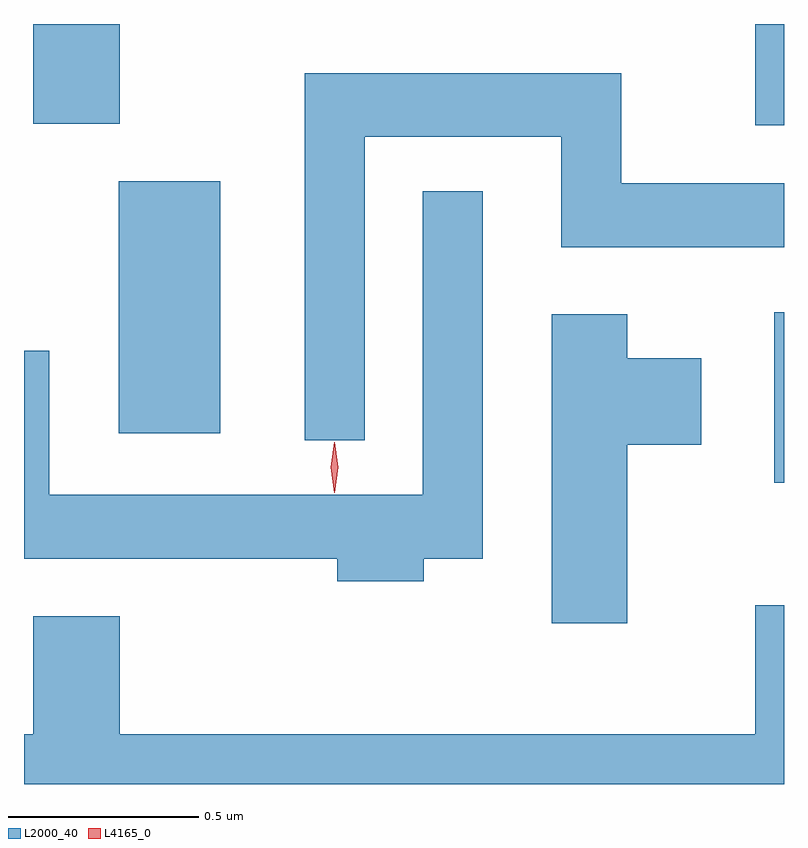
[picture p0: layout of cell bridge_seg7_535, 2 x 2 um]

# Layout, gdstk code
import gdstk
lib = gdstk.Library(unit=1e-6, precision=1e-09)
def R(c, l, rs):  # rectangles x0, y0, x1, y1
    for r in rs: c.add(gdstk.rectangle(r[:2], r[2:], *l))
def P(c, l, *ps):  # polygons
    for p in ps: c.add(gdstk.Polygon(p, *l))
L2000_40 = (2000, 40)
L4165_0 = (4165, 0)

bridge_seg7_535 = lib.new_cell('bridge_seg7_535')
R(bridge_seg7_535, L2000_40, [(1286.291,1673.066,1286.317,1673.514), (1284.566,1673.196,1284.834,1673.859), (1286.241,1674.006,1286.317,1674.273), (1284.341,1674.011,1284.569,1674.273)])
P(bridge_seg7_535, L2000_40, [(1285.214,1673.976),(1285.731,1673.976),(1285.731,1673.686),(1286.317,1673.686),(1286.317,1673.854),(1285.889,1673.854),(1285.889,1674.144),(1285.056,1674.144),(1285.056,1673.178),(1285.214,1673.178)],
  [(1285.369,1672.866),(1285.524,1672.866),(1285.524,1673.833),(1285.366,1673.833),(1285.366,1673.034),(1284.384,1673.034),(1284.384,1673.413),(1284.317,1673.413),(1284.317,1672.866),(1285.141,1672.866),(1285.141,1672.806),(1285.369,1672.806)],
  [(1285.904,1673.166),(1286.099,1673.166),(1286.099,1673.394),(1285.904,1673.394),(1285.904,1673.509),(1285.706,1673.509),(1285.706,1672.696),(1285.904,1672.696)],
  [(1286.317,1672.744),(1286.241,1672.744),(1286.241,1672.404),(1284.569,1672.404),(1284.569,1672.714),(1284.341,1672.714),(1284.341,1672.404),(1284.317,1672.404),(1284.317,1672.273),(1286.317,1672.273)])
P(bridge_seg7_535, L4165_0, [(1285.134,1673.039),(1285.134,1673.04),(1285.124,1673.106),(1285.134,1673.172),(1285.134,1673.173),(1285.135,1673.172),(1285.144,1673.106),(1285.135,1673.04)])

lib.write_gds('bridge_seg7_535.gds')
